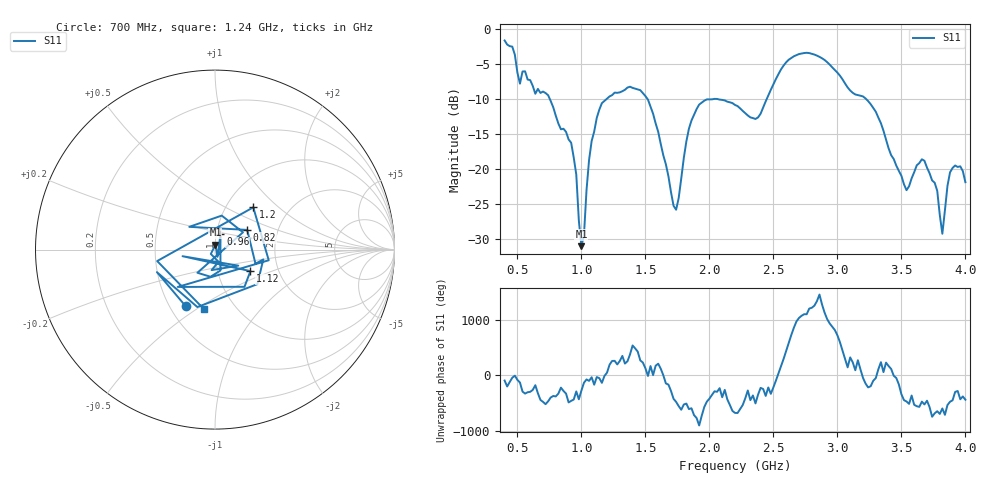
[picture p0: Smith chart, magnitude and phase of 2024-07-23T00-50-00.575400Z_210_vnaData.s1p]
!Created with skrf (http://scikit-rf.org).
# Hz S RI R 50.0
!freq ReS11 ImS11
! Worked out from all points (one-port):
!   181 points, 400 MHz to 4 GHz, reference 50 ohm
!   lowest |S11| = -31.0 dB at 1 GHz (marker M1), VSWR 1.06, Z = 50.2 + j2.81 ohm
!   |S11| at or under -10 dB: 752.1 MHz to 1.198 GHz (445.6 MHz wide, 45.7 % of centre); 1.515 GHz to 2.449 GHz (933.9 MHz wide, 47.1 % of centre); 3.222 GHz to end of sweep
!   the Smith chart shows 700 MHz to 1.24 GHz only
!   S11 on the Smith chart (normalised r, x): 700 MHz: 0.60, -0.44; 820 MHz: 1.39, +0.32; 960 MHz: 1.05, +0.18; 1.12 GHz: 1.44, -0.36; 1.2 GHz: 1.33, +0.70; 1.24 GHz: 0.72, -0.53
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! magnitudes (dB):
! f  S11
! 400 MHz  -1.7
! 520 MHz  -7.9
! 700 MHz  -9.0
! 820 MHz  -13.5
! 860 MHz  -14.3
! 960 MHz  -20.8
! 1 GHz  -31.0
! 1.06 GHz  -18.7
! 1.12 GHz  -12.7
! 1.2 GHz  -10.0
! 1.24 GHz  -9.5
! 1.3 GHz  -9.1
! 1.52 GHz  -10.1
! 1.72 GHz  -25.3
! 1.76 GHz  -24.2
! 1.84 GHz  -14.3
! 1.92 GHz  -10.8
! 2.2 GHz  -10.9
! 2.38 GHz  -12.7
! 2.66 GHz  -3.9
! 3.1 GHz  -8.8
! 3.3 GHz  -11.9
! 3.56 GHz  -22.5
! 3.68 GHz  -18.8
! 3.78 GHz  -23.1
! 3.82 GHz  -29.3
! 3.88 GHz  -20.5
! 4 GHz  -21.9
